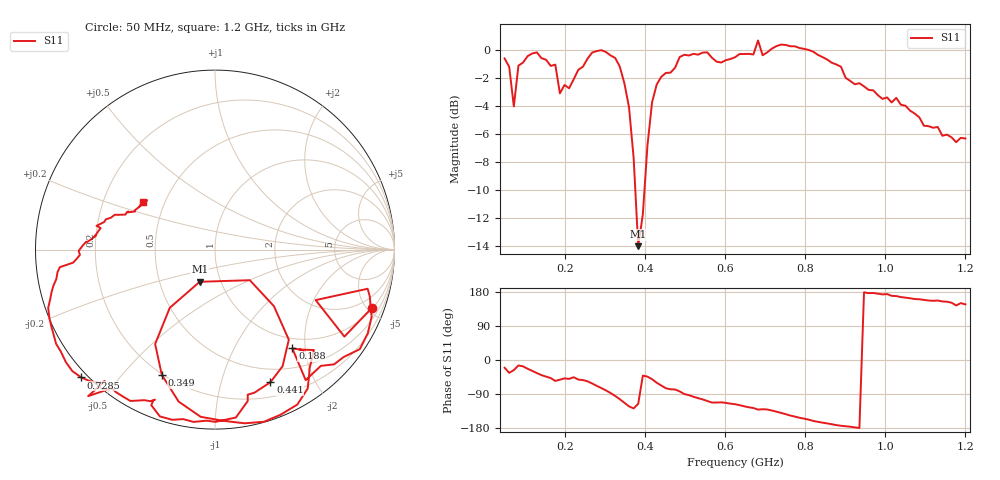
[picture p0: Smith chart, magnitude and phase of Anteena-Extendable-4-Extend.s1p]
# HZ S RI R 50
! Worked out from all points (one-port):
!   101 points, 50 MHz to 1.2 GHz, reference 50 ohm
!   lowest |S11| = -14.0 dB at 383.5 MHz (marker M1), VSWR 1.50, Z = 39.7 - j14.8 ohm
!   |S11| at or under -10 dB: 376.1 MHz to 399.1 MHz (22.96 MHz wide, 5.92 % of centre)
!   S11 on the Smith chart (normalised r, x): 50 MHz: 1.08, -5.32; 188 MHz: 0.82, -1.76; 349 MHz: 0.20, -0.64; 441 MHz: 0.35, -1.44; 728.5 MHz: -0.02, -0.40; 1.2 GHz: 0.38, +0.26
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5e7  0.8727 -0.3262
6.15e7  0.721 -0.4848
7.3e7  0.5609 -0.2813
8.45e7  0.8505 -0.2181
1.075e8  0.8727 -0.3743
1.765e8  0.5051 -0.7272
1.88e8  0.4309 -0.5501
1.995e8  0.496 -0.561
2.225e8  0.551 -0.5595
2.685e8  0.4589 -0.8632
3.03e8  0.1652 -0.9678
3.375e8  -0.2026 -0.8469
3.49e8  -0.2962 -0.6983
3.72e8  -0.2522 -0.3246
3.835e8  -0.0854 -0.1794
3.95e8  0.194 -0.1704
4.18e8  0.4112 -0.5021
4.41e8  0.309 -0.7387
4.87e8  0.1164 -0.9355
5.675e8  -0.3551 -0.8668
6.25e8  -0.4218 -0.8407
6.825e8  -0.7068 -0.8167
6.94e8  -0.6138 -0.733
7.285e8  -0.7453 -0.7123
7.745e8  -0.8852 -0.5251
9.125e8  -0.7721 -0.0531
1.062e9  -0.5794 0.178
1.2e9  -0.403 0.2645
